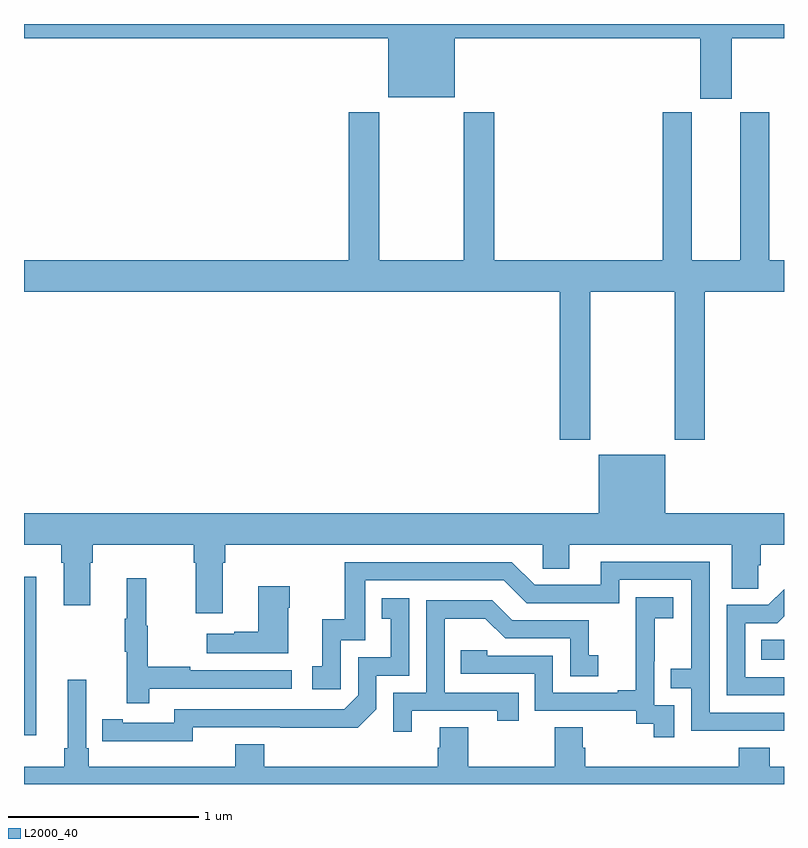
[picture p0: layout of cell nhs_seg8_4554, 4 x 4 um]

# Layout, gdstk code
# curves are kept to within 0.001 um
import gdstk
lib = gdstk.Library(unit=1e-6, precision=1e-09)
def R(c, l, rs):  # rectangles x0, y0, x1, y1
    for r in rs: c.add(gdstk.rectangle(r[:2], r[2:], *l))
def P(c, l, *ps):  # polygons
    for p in ps: c.add(gdstk.Polygon(p, *l))
L2000_40 = (2000, 40)

nhs_seg8_4554 = lib.new_cell('nhs_seg8_4554')
R(nhs_seg8_4554, L2000_40, [(387,1122.156,387.064,1122.991), (390.88,1122.554,391,1122.658)])
P(nhs_seg8_4554, L2000_40, [(387,1125.824),(388.916,1125.824),(388.916,1125.515),(389.266,1125.515),(389.266,1125.824),(390.56,1125.824),(390.56,1125.507),(390.724,1125.507),(390.724,1125.824),(391,1125.824),(391,1125.9),(387,1125.9)],
  [(389.979,1124.492),(390.424,1124.492),(390.424,1123.713),(390.584,1123.713),(390.584,1124.492),(391,1124.492),(391,1124.656),(390.923,1124.656),(390.923,1125.435),(390.77,1125.435),(390.77,1124.656),(390.514,1124.656),(390.514,1125.435),(390.362,1125.435),(390.362,1124.656),(389.474,1124.656),(389.474,1125.436),(389.314,1125.436),(389.314,1124.656),(388.869,1124.656),(388.869,1125.436),(388.709,1125.436),(388.709,1124.656),(387,1124.656),(387,1124.492),(389.819,1124.492),(389.819,1123.713),(389.979,1123.713)],
  [(388.045,1123.064),(388.058,1123.064),(388.058,1123.16),(389.73,1123.16),(389.73,1123.033),(389.869,1123.033),(389.869,1123.16),(390.725,1123.16),(390.725,1122.928),(390.864,1122.928),(390.864,1123.051),(390.878,1123.051),(390.878,1123.16),(391,1123.16),(391,1123.324),(390.376,1123.324),(390.376,1123.633),(390.026,1123.633),(390.026,1123.324),(387,1123.324),(387,1123.16),(387.197,1123.16),(387.197,1123.064),(387.209,1123.064),(387.209,1122.84),(387.349,1122.84),(387.349,1123.064),(387.362,1123.064),(387.362,1123.16),(387.893,1123.16),(387.893,1123.064),(387.905,1123.064),(387.905,1122.798),(388.045,1122.798)],
  [(391,1122.276),(390.609,1122.276),(390.609,1123.071),(390.035,1123.071),(390.035,1122.948),(389.688,1122.948),(389.568,1123.068),(388.689,1123.068),(388.689,1122.766),(388.571,1122.766),(388.571,1122.519),(388.518,1122.519),(388.518,1122.399),(388.668,1122.399),(388.668,1122.657),(388.797,1122.657),(388.797,1122.972),(389.526,1122.972),(389.646,1122.852),(390.132,1122.852),(390.132,1122.975),(390.513,1122.975),(390.513,1122.506),(390.403,1122.506),(390.403,1122.405),(390.513,1122.405),(390.513,1122.18),(391,1122.18)],
  [(387.659,1122.402),(388.408,1122.402),(388.408,1122.498),(387.875,1122.498),(387.875,1122.518),(387.652,1122.518),(387.652,1122.732),(387.644,1122.732),(387.644,1122.982),(387.542,1122.982),(387.542,1122.769),(387.531,1122.769),(387.531,1122.595),(387.542,1122.595),(387.542,1122.324),(387.659,1122.324)],
  [(388.39,1122.827),(388.398,1122.827),(388.398,1122.94),(388.232,1122.94),(388.232,1122.701),(388.106,1122.701),(388.106,1122.691),(387.963,1122.691),(387.963,1122.587),(388.39,1122.587)],
  [(391,1122.462),(390.795,1122.462),(390.795,1122.747),(390.964,1122.747),(391,1122.783),(391,1122.925),(390.918,1122.843),(390.699,1122.843),(390.699,1122.366),(391,1122.366)],
  [(390.423,1122.315),(390.318,1122.315),(390.318,1122.545),(390.32,1122.545),(390.32,1122.773),(390.418,1122.773),(390.418,1122.883),(390.22,1122.883),(390.22,1122.677),(390.221,1122.677),(390.221,1122.394),(390.125,1122.394),(390.125,1122.381),(389.784,1122.381),(389.784,1122.576),(389.439,1122.576),(389.439,1122.603),(389.299,1122.603),(389.299,1122.48),(389.688,1122.48),(389.688,1122.285),(390.222,1122.285),(390.222,1122.217),(390.315,1122.217),(390.315,1122.147),(390.423,1122.147)],
  [(387.888,1122.198),(388.756,1122.197),(388.854,1122.294),(388.854,1122.471),(389.028,1122.471),(389.028,1122.877),(388.882,1122.877),(388.882,1122.771),(388.931,1122.771),(388.931,1122.567),(388.758,1122.567),(388.758,1122.366),(388.686,1122.294),(387.792,1122.294),(387.792,1122.222),(387.52,1122.222),(387.52,1122.242),(387.412,1122.242),(387.412,1122.126),(387.888,1122.125)],
  [(389.041,1122.285),(389.492,1122.285),(389.492,1122.234),(389.603,1122.234),(389.603,1122.381),(389.214,1122.381),(389.214,1122.77),(389.428,1122.77),(389.532,1122.666),(389.874,1122.666),(389.874,1122.468),(390.022,1122.468),(390.022,1122.577),(389.973,1122.577),(389.973,1122.762),(389.569,1122.762),(389.464,1122.867),(389.118,1122.867),(389.118,1122.381),(388.944,1122.381),(388.944,1122.174),(389.041,1122.174)],
  [(391,1121.992),(390.926,1121.992),(390.926,1122.091),(390.761,1122.091),(390.761,1121.992),(389.954,1121.992),(389.954,1122.09),(389.941,1122.09),(389.941,1122.2),(389.794,1122.2),(389.794,1121.992),(389.337,1121.992),(389.337,1122.2),(389.189,1122.2),(389.189,1122.09),(389.177,1122.09),(389.177,1121.992),(388.265,1121.992),(388.265,1122.109),(388.112,1122.109),(388.112,1121.992),(387.341,1121.992),(387.341,1122.088),(387.327,1122.088),(387.327,1122.448),(387.23,1122.448),(387.23,1122.088),(387.211,1122.088),(387.211,1121.992),(387,1121.992),(387,1121.9),(391,1121.9)])

lib.write_gds('nhs_seg8_4554.gds')
